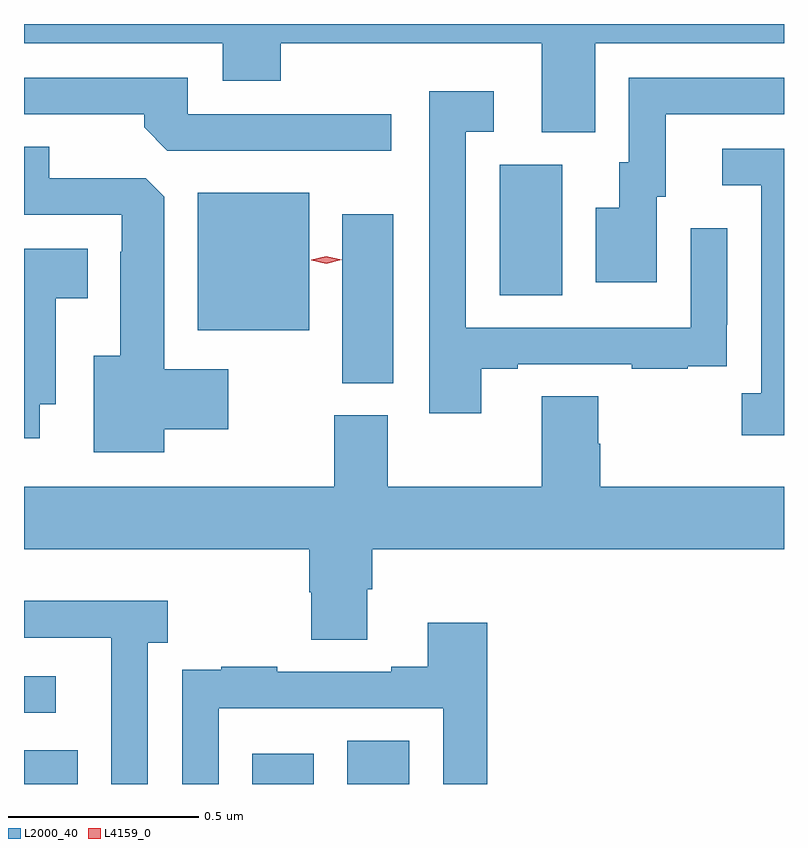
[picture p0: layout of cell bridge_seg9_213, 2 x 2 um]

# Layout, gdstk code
import gdstk
lib = gdstk.Library(unit=1e-6, precision=1e-09)
def R(c, l, rs):  # rectangles x0, y0, x1, y1
    for r in rs: c.add(gdstk.rectangle(r[:2], r[2:], *l))
def P(c, l, *ps):  # polygons
    for p in ps: c.add(gdstk.Polygon(p, *l))
L2000_40 = (2000, 40)
L4159_0 = (4159, 0)

bridge_seg9_213 = lib.new_cell('bridge_seg9_213')
R(bridge_seg9_213, L2000_40, [(159.628,1214.45,159.769,1214.539), (160.229,1214.45,160.39,1214.53), (160.478,1214.45,160.642,1214.564), (159.628,1214.637,159.712,1214.733), (160.466,1215.505,160.6,1215.949), (160.085,1215.644,160.378,1216.006), (160.88,1215.736,161.044,1216.08)])
P(bridge_seg9_213, L2000_40, [(161.131,1216.4),(161.628,1216.4),(161.628,1216.45),(159.628,1216.45),(159.628,1216.4),(160.151,1216.4),(160.151,1216.301),(160.304,1216.301),(160.304,1216.4),(160.991,1216.4),(160.991,1216.165),(161.131,1216.165)],
  [(161.293,1215.996),(161.317,1215.996),(161.317,1216.212),(161.628,1216.212),(161.628,1216.308),(161.22,1216.308),(161.22,1216.086),(161.195,1216.086),(161.195,1215.967),(161.132,1215.967),(161.132,1215.771),(161.293,1215.771)],
  [(160.594,1216.212),(160.059,1216.212),(160.059,1216.308),(159.628,1216.308),(159.628,1216.212),(159.944,1216.212),(159.944,1216.178),(160.005,1216.116),(160.594,1216.116)],
  [(160.831,1215.543),(160.927,1215.543),(160.927,1215.555),(161.227,1215.555),(161.227,1215.543),(161.375,1215.543),(161.375,1215.549),(161.477,1215.549),(161.477,1215.658),(161.478,1215.658),(161.478,1215.913),(161.382,1215.913),(161.382,1215.651),(160.791,1215.651),(160.791,1216.167),(160.864,1216.167),(160.864,1216.273),(160.695,1216.273),(160.695,1215.426),(160.831,1215.426)],
  [(159.997,1215.383),(160.165,1215.383),(160.165,1215.541),(159.997,1215.541),(159.997,1215.995),(159.948,1216.044),(159.694,1216.044),(159.694,1216.127),(159.628,1216.127),(159.628,1215.948),(159.885,1215.948),(159.885,1215.851),(159.881,1215.851),(159.881,1215.577),(159.812,1215.577),(159.812,1215.323),(159.997,1215.323)],
  [(161.628,1216.122),(161.466,1216.122),(161.466,1216.026),(161.568,1216.026),(161.568,1215.478),(161.517,1215.478),(161.517,1215.368),(161.628,1215.368)],
  [(159.67,1215.449),(159.712,1215.449),(159.712,1215.728),(159.796,1215.728),(159.796,1215.859),(159.628,1215.859),(159.628,1215.36),(159.67,1215.36)],
  [(160.531,1214.962),(160.544,1214.962),(160.544,1215.068),(161.628,1215.068),(161.628,1215.232),(161.144,1215.232),(161.144,1215.345),(161.139,1215.345),(161.139,1215.47),(160.991,1215.47),(160.991,1215.232),(160.585,1215.232),(160.585,1215.42),(160.445,1215.42),(160.445,1215.232),(159.628,1215.232),(159.628,1215.068),(160.379,1215.068),(160.379,1214.955),(160.384,1214.955),(160.384,1214.83),(160.531,1214.83)],
  [(159.954,1214.822),(160.006,1214.822),(160.006,1214.932),(159.628,1214.932),(159.628,1214.835),(159.857,1214.835),(159.857,1214.635),(159.858,1214.635),(159.858,1214.45),(159.954,1214.45)],
  [(160.14,1214.649),(160.731,1214.649),(160.731,1214.45),(160.847,1214.45),(160.847,1214.875),(160.691,1214.875),(160.691,1214.758),(160.595,1214.758),(160.595,1214.745),(160.295,1214.745),(160.295,1214.758),(160.147,1214.758),(160.147,1214.751),(160.045,1214.751),(160.045,1214.642),(160.044,1214.642),(160.044,1214.45),(160.14,1214.45)])
P(bridge_seg9_213, L4159_0, [(160.424,1215.819),(160.384,1215.828),(160.384,1215.829),(160.384,1215.829),(160.424,1215.839),(160.464,1215.83),(160.464,1215.83),(160.464,1215.829)])

lib.write_gds('bridge_seg9_213.gds')
